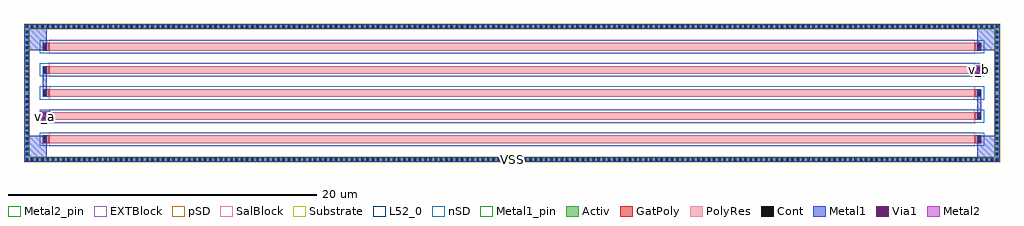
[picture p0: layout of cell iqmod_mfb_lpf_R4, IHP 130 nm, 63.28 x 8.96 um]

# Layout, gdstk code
from math import pi, radians
import gdstk
lib = gdstk.Library(unit=1e-6, precision=5e-09)
def R(c, l, rs):  # rectangles x0, y0, x1, y1
    for r in rs: c.add(gdstk.rectangle(r[:2], r[2:], *l))
def A(c, l, x, y, w, h, nx, ny, dx, dy):  # array of equal rectangles
    R(c, l, [(x+i*dx, y+j*dy, x+i*dx+w, y+j*dy+h) for i in range(nx) for j in range(ny)])
def P(c, l, *ps):  # polygons
    for p in ps: c.add(gdstk.Polygon(p, *l))
Activ = (1, 0)
GatPoly = (5, 0)
Cont = (6, 0)
nSD = (7, 0)
Metal1 = (8, 0)
Metal1_pin = (8, 2)
Metal2 = (10, 0)
Metal2_pin = (10, 2)
pSD = (14, 0)
Via1 = (19, 0)
SalBlock = (28, 0)
Substrate = (40, 0)
L52_0 = (52, 0)
EXTBlock = (111, 0)
PolyRes = (128, 0)

via_stack_1 = lib.new_cell('via_stack$1')
R(via_stack_1, Metal1, [(-0.35,-0.31,0.35,0.31)])
R(via_stack_1, Metal2, [(-0.35,-0.305,0.35,0.305)])
R(via_stack_1, Via1, [(-0.3,-0.3,-0.11,-0.11), (0.11,-0.3,0.3,-0.11), (-0.3,0.11,-0.11,0.3), (0.11,0.11,0.3,0.3)])

rhigh_2 = lib.new_cell('rhigh$2')
A(rhigh_2, GatPoly, 0, -0.43, 0.5, 0.43, 3, 2, 1.5, 60.43)
A(rhigh_2, Cont, 0.07, -0.36, 0.36, 0.16, 3, 2, 1.5, 60.56)
A(rhigh_2, nSD, -0.18, -0.61, 0.86, 0.79, 3, 2, 1.5, 60.43)
R(rhigh_2, nSD, [(-0.18,0,0.68,60), (-0.18,0,0.68,60), (1.32,0,2.18,60), (1.32,0,2.18,60), (2.82,0,3.68,60), (2.82,0,3.68,60)])
A(rhigh_2, Metal1, 0.02, -0.41, 0.46, 0.26, 3, 2, 1.5, 60.56)
R(rhigh_2, Metal1, [(1.52,-0.41,3.48,-0.15), (0.02,60.15,1.98,60.41)])
A(rhigh_2, Metal1_pin, 0.02, -0.41, 0.46, 0.26, 3, 2, 1.5, 60.56)
A(rhigh_2, pSD, -0.18, -0.61, 0.86, 0.79, 3, 2, 1.5, 60.43)
R(rhigh_2, pSD, [(-0.18,0,0.68,60), (-0.18,0,0.68,60), (1.32,0,2.18,60), (1.32,0,2.18,60), (2.82,0,3.68,60), (2.82,0,3.68,60)])
A(rhigh_2, SalBlock, -0.2, 0, 0.9, 60, 3, 1, 1.5, 0)
A(rhigh_2, L52_0, 0, 0, 0.5, 60, 3, 1, 1.5, 0)
A(rhigh_2, EXTBlock, -0.18, -0.61, 0.86, 0.79, 3, 2, 1.5, 60.43)
A(rhigh_2, EXTBlock, -0.2, 0, 0.9, 60, 3, 1, 1.5, 0)
A(rhigh_2, PolyRes, 0, 0, 0.5, 60, 3, 1, 1.5, 0)
rhigh_2.add(gdstk.Label('rhigh r=177711.304', (0.25,30), layer=63, texttype=0))
rhigh_2.add(gdstk.Label('rhigh r=177711.304', (0.25,30), layer=63, texttype=0))
rhigh_2.add(gdstk.Label('rhigh r=177711.304', (0.25,30), layer=63, texttype=0))
rhigh_2.add(gdstk.Label('rhigh', (0.25,30), layer=52, texttype=0))
rhigh_2.add(gdstk.Label('rhigh', (1.75,30), layer=52, texttype=0))
rhigh_2.add(gdstk.Label('rhigh', (3.25,30), layer=52, texttype=0))

rhigh_1 = lib.new_cell('rhigh$1')
R(rhigh_1, Activ, [(-1.2,-1.31,-0.9,61.31), (7.4,-1.31,7.7,61.31), (-1.2,61.31,7.7,61.61)])
P(rhigh_1, Activ, [(-1.2,-1.61),(-1.2,61.31),(-0.9,61.31),(-0.9,-1.31),(7.4,-1.31),(7.4,61.31),(-1.2,61.31),(-1.2,61.61),(7.7,61.61),(7.7,-1.61)])
R(rhigh_1, GatPoly, [(0,-0.43,0.5,0), (6,-0.43,6.5,0), (0,60,0.5,60.43), (6,60,6.5,60.43)])
A(rhigh_1, Cont, -1.13, -1.54, 0.16, 0.16, 13, 2, 0.34, 62.92)
A(rhigh_1, Cont, 3.39, -1.54, 0.16, 0.16, 13, 2, 0.34, 62.92)
A(rhigh_1, Cont, -1.13, -1.2, 0.16, 0.16, 1, 92, 0, 0.34)
A(rhigh_1, Cont, 7.47, -1.2, 0.16, 0.16, 1, 92, 0, 0.34)
A(rhigh_1, Cont, -1.13, 30.1, 0.16, 0.16, 1, 92, 0, 0.34)
A(rhigh_1, Cont, 7.47, 30.1, 0.16, 0.16, 1, 92, 0, 0.34)
R(rhigh_1, Cont, [(0.07,-0.36,0.43,-0.2), (6.07,-0.36,6.43,-0.2), (0.07,60.2,0.43,60.36), (6.07,60.2,6.43,60.36)])
R(rhigh_1, nSD, [(-0.18,-0.61,0.68,0.18), (5.82,-0.61,6.68,0.18), (-0.18,0,0.68,60), (-0.18,0,0.68,60), (5.82,0,6.68,60), (5.82,0,6.68,60), (-0.18,59.82,0.68,60.61), (5.82,59.82,6.68,60.61)])
R(rhigh_1, Metal1, [(-1.2,-1.61,7.7,-1.31), (-1.2,-1.31,-0.9,61.31), (7.4,-1.31,7.7,61.31), (0.02,-0.41,0.48,-0.15), (6.02,-0.41,6.48,-0.15), (0.02,60.15,0.48,60.41), (6.02,60.15,6.48,60.41), (-1.2,61.31,7.7,61.61)])
R(rhigh_1, Metal1_pin, [(0.02,-0.41,0.48,-0.15), (6.02,-0.41,6.48,-0.15), (0.02,60.15,0.48,60.41), (6.02,60.15,6.48,60.41)])
R(rhigh_1, pSD, [(-1.23,-1.28,-0.87,61.28), (7.37,-1.28,7.73,61.28), (-0.18,-0.61,0.68,0.18), (5.82,-0.61,6.68,0.18), (-0.18,0,0.68,60), (-0.18,0,0.68,60), (5.82,0,6.68,60), (5.82,0,6.68,60), (-0.18,59.82,0.68,60.61), (5.82,59.82,6.68,60.61), (-1.23,61.28,7.73,61.64)])
P(rhigh_1, pSD, [(-1.23,-1.64),(-1.23,61.28),(-0.87,61.28),(-0.87,-1.28),(7.37,-1.28),(7.37,61.28),(-1.23,61.28),(-1.23,61.64),(7.73,61.64),(7.73,-1.64)])
R(rhigh_1, SalBlock, [(-0.2,0,0.7,60), (5.8,0,6.7,60)])
R(rhigh_1, Substrate, [(-1.23,-1.28,-0.87,61.28), (7.37,-1.28,7.73,61.28), (-1.23,61.28,7.73,61.64)])
P(rhigh_1, Substrate, [(-1.23,-1.64),(-1.23,61.28),(-0.87,61.28),(-0.87,-1.28),(7.37,-1.28),(7.37,61.28),(-1.23,61.28),(-1.23,61.64),(7.73,61.64),(7.73,-1.64)])
R(rhigh_1, L52_0, [(0,0,0.5,60), (6,0,6.5,60)])
R(rhigh_1, EXTBlock, [(-0.18,-0.61,0.68,0.18), (5.82,-0.61,6.68,0.18), (-0.2,0,0.7,60), (5.8,0,6.7,60), (-0.18,59.82,0.68,60.61), (5.82,59.82,6.68,60.61)])
R(rhigh_1, PolyRes, [(0,0,0.5,60), (6,0,6.5,60)])
rhigh_1.add(gdstk.Label('rhigh r=177711.304', (0.25,30), layer=63, texttype=0))
rhigh_1.add(gdstk.Label('rhigh r=177711.304', (0.25,30), layer=63, texttype=0))
rhigh_1.add(gdstk.Label('sub!', (3.25,-1.46), layer=63, texttype=0))
rhigh_1.add(gdstk.Label('rhigh', (0.25,30), layer=52, texttype=0))
rhigh_1.add(gdstk.Label('rhigh', (6.25,30), layer=52, texttype=0))

iqmod_mfb_lpf_r4 = lib.new_cell('iqmod_mfb_lpf_R4')
R(iqmod_mfb_lpf_r4, Metal1, [(0.03,0.03,1.49,1.71), (31.48,0.03,31.8,0.33), (61.79,0.03,63.25,1.71), (0.03,7.25,1.49,8.93), (61.79,7.25,63.25,8.93)])
R(iqmod_mfb_lpf_r4, Metal1_pin, [(31.515,0.055,31.765,0.305)])
R(iqmod_mfb_lpf_r4, Metal2_pin, [(1.25,2.87,1.47,3.09), (61.81,5.87,62.03,6.09)])
iqmod_mfb_lpf_r4.add(gdstk.Reference(via_stack_1, (1.36,2.98), x_reflection=True))
iqmod_mfb_lpf_r4.add(gdstk.Reference(rhigh_2, (1.64,2.73), rotation=pi/2, x_reflection=True))
iqmod_mfb_lpf_r4.add(gdstk.Reference(via_stack_1, (61.92,5.98), x_reflection=True))
iqmod_mfb_lpf_r4.add(gdstk.Reference(rhigh_1, (1.64,1.23), rotation=pi/2, x_reflection=True))
iqmod_mfb_lpf_r4.add(gdstk.Label('VSS', (31.64,0.18), layer=8, texttype=25))
iqmod_mfb_lpf_r4.add(gdstk.Label('v_b', (61.92,5.98), layer=10, texttype=25))
iqmod_mfb_lpf_r4.add(gdstk.Label('v_a', (1.36,2.98), layer=10, texttype=25))

lib.write_gds('iqmod_mfb_lpf_R4.gds')
